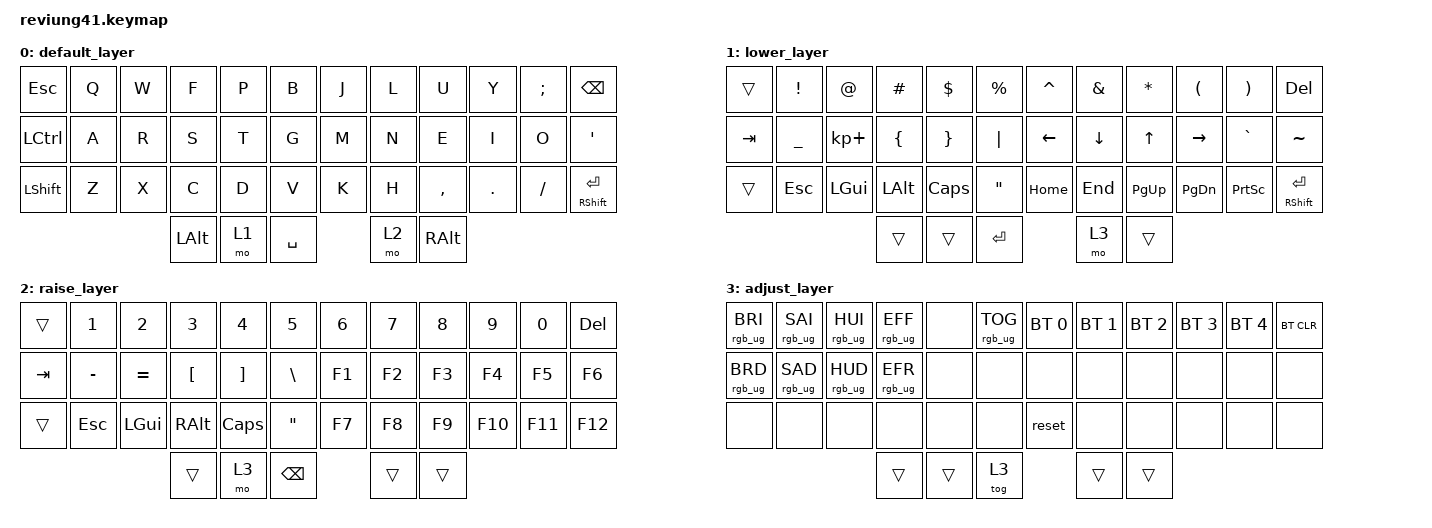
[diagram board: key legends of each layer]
/*
 * Copyright (c) 2020 The ZMK Contributors
 *
 * SPDX-License-Identifier: MIT
 */

#include <behaviors.dtsi>
#include <dt-bindings/zmk/keys.h>
#include <dt-bindings/zmk/bt.h>
#include <dt-bindings/zmk/rgb.h>

/ {
        keymap {
                compatible = "zmk,keymap";

                default_layer {
// -------------------------------------------------------------------------------------
// |  ESC |  Q  |  W  |  F  |  P  |  B  |   |  J  |  L   |  U  |  Y  |  ;  |   BKSP    |
// | CTRL |  A  |  R  |  S  |  T  |  G  |   |  M  |  N   |  E  |  I  |  O  |    '      |
// | SHFT |  Z  |  X  |  C  |  D  |  V  |   |  K  |  H   |  ,  |  .  |  /  | SHFT(RET) |
//                         | ALT | LWR | SPC | RSE  | ALT |
                        bindings = <
   &kp ESC   &kp Q &kp W &kp F &kp P &kp B   &kp J &kp L  &kp U     &kp Y   &kp SEMI &kp BSPC
   &kp LCTRL &kp A &kp R &kp S &kp T &kp G   &kp M &kp N  &kp E     &kp I   &kp O    &kp SQT
   &kp LSHFT &kp Z &kp X &kp C &kp D &kp V   &kp K &kp H  &kp COMMA &kp DOT &kp FSLH &mt RSHFT RET
                        &kp LALT  &mo 1 &kp SPACE &mo 2  &kp RALT
                        >;
                };

                lower_layer {
// ----------------------------------------------------------------------------------
// |    |  !  |  @  |  #  |  $  |  %  |   |  ^  |  &  |  *  |  (  |  )  |    DEL    |
// |TAB |  _  |  +  |  {  |  }  | "|" |   | LFT | DWN |  UP | RGT |  `  |     ~     |
// |    | ESC | GUI | ALT | CAPS|  "  |   | HOME| END | PGUP| PGDN| PRSC| SHFT(RET) |
//                       |     |     | RET | ADJ |     |
                        bindings = <
   &trans  &kp EXCL  &kp AT      &kp HASH &kp DLLR &kp PRCNT      &kp CARET &kp AMPS &kp ASTRK    &kp LPAR  &kp RPAR  &kp DEL
   &kp TAB &kp UNDER &kp KP_PLUS &kp LBRC &kp RBRC &kp PIPE       &kp LEFT  &kp DOWN &kp UP    &kp RIGHT &kp GRAVE &kp TILDE
   &trans &kp ESC   &kp LGUI    &kp LALT &kp CLCK &kp DQT        &kp HOME  &kp END  &kp PG_UP &kp PG_DN &kp PSCRN &mt RSHFT RET
                                 &trans      &trans       &kp RET        &mo 3       &trans
                        >;
                };

                raise_layer {
// -----------------------------------------------------------------------------------------
// |    |  1  |  2  |  3  |  4  |  5  |   |  6  |  7  |  8  |  9  |  0  | DEL |
// |TAB |  -  |  =  |  [  |  ]  |  \  |   | F1  | F2  | F3  | F4  | F5  | F6  |
// |    | ESC | GUI | ALT | CAPS|  "  |   | F7  | F8  | F9  | F10 | F11 | F12 |
//                       |     | ADJ | BKSP |    |     |
                        bindings = <
   &trans  &kp N1    &kp N2    &kp N3    &kp N4    &kp N5        &kp N6    &kp N7    &kp N8    &kp N9    &kp N0    &kp DEL
   &kp TAB &kp MINUS &kp EQUAL &kp LBKT  &kp RBKT  &kp BSLH      &kp F1    &kp F2    &kp F3    &kp F4    &kp F5    &kp F6
   &trans  &kp ESC   &kp LGUI  &kp RALT  &kp CLCK  &kp DQT       &kp F7    &kp F8    &kp F9    &kp F10   &kp F11   &kp F12
                                &trans      &mo 3       &kp BSPC        &trans      &trans
                        >;
                };

                adjust_layer {
// -----------------------------------------------------------------------------------------
// | RGB BRI+ | RGB SAT+ | RGB HUE+ | RGB ANI+ |    | RGB TOG |   |  BT1  | BT2 | BT3 | BT4 | BT5 | BT CLR |
// | RGB BRI- | RGB SAT- | RGB HUE- | RGB ANI- |    |         |   |       |     |     |     |     |        |
// |          |          |          |          |    |         |   | RESET |     |     |     |     |        |
//                                              |     |     |     |     |     |
                        bindings = <
   &rgb_ug RGB_BRI &rgb_ug RGB_SAI &rgb_ug RGB_HUI &rgb_ug RGB_EFF &none &rgb_ug RGB_TOG    &bt BT_SEL 0 &bt BT_SEL 1 &bt BT_SEL 2 &bt BT_SEL 3 &bt BT_SEL 4 &bt BT_CLR
   &rgb_ug RGB_BRD &rgb_ug RGB_SAD &rgb_ug RGB_HUD &rgb_ug RGB_EFR &none &none              &none        &none        &none        &none        &none        &none
   &none           &none           &none           &none           &none &none              &reset       &none        &none        &none        &none        &none
                                                             &trans      &trans       &tog 3        &trans      &trans
                        >;
                };
        };
};
